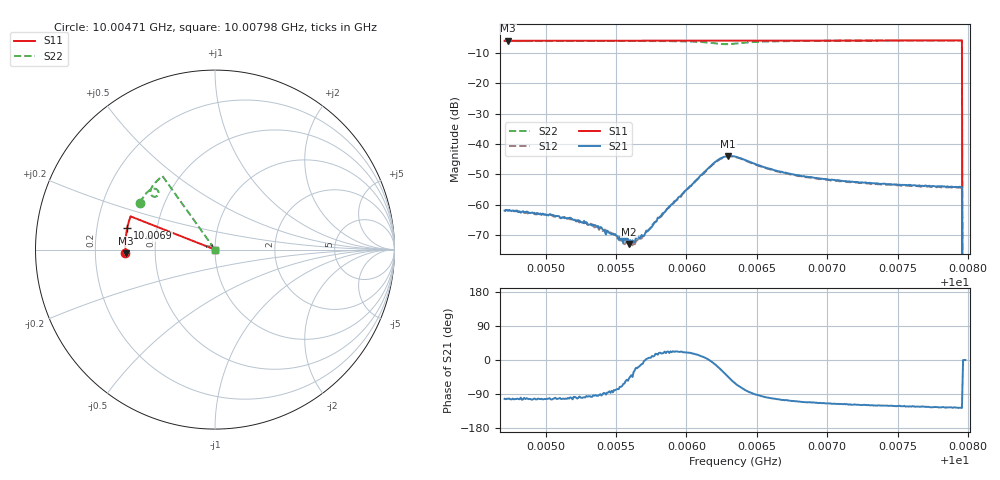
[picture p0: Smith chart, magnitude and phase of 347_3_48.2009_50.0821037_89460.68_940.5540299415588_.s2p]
#  HZ  S  RI  R  50.00
! Rohde & Schwarz Vector Network Analyzer
! Rohde-Schwarz,ZNB20-2Port,1311601062101988,3.16
! Created: UTC 3/20/2024, 11:51:39 AM
! freq[Hz]  re:S11  im:S11  re:S21  im:S21  re:S12  im:S12  re:S22  im:S22
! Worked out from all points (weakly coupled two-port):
!   401 points, 10.00471 GHz to 10.00798 GHz, reference 50 ohm
!   highest |S21| = -43.92 dB at 10.0063 GHz (marker M1); lowest = -72.9 dB at 10.00559 GHz (marker M2)
!   lowest |S11| = -6.0 dB at 10.00473 GHz (marker M3), VSWR 2.99, Z = 16.7 - j0.874 ohm
!   |S11| at or under -10 dB: 10.00796 GHz to end of sweep
!   |S22| runs from - to -6.0 dB; largest |S21 - S12| = 0.00036
!   S11 on the Smith chart (normalised r, x): 10.00471 GHz: 0.33, -0.02; 10.0069 GHz: 0.33, +0.11; 10.00798 GHz: 1.00, +0.00
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1.0004707e10  -0.4988 -0.0211  -0.000172 -0.000783  -0.000115 -0.000765  -0.4191 0.2603
1.0004732e10  -0.4986 -0.0196  -0.000173 -0.000786  -0.000137 -0.000782  -0.4183 0.2618
1.0005043e10  -0.4998 0.000783  -0.000166 -0.000649  -9.35e-05 -0.000668  -0.4073 0.2802
1.0005256e10  -0.4999 0.0146  -8.78e-05 -0.000503  -5.74e-05 -0.000513  -0.3991 0.2928
1.0005354e10  -0.4999 0.021  -2.26e-05 -0.000457  6.05e-06 -0.000423  -0.3949 0.2988
1.0005477e10  -0.4998 0.0288  2.63e-05 -0.00033  3.69e-05 -0.000335  -0.3894 0.3062
1.0005551e10  -0.4996 0.0336  0.000104 -0.000206  0.000132 -0.000201  -0.3859 0.3107
1.0005591e10  -0.4995 0.0362  0.000149 -0.000169  0.000156 -0.000214  -0.3837 0.3131
1.0005616e10  -0.4994 0.0379  0.000185 -0.000183  0.000166 -0.000136  -0.3825 0.3147
1.0005632e10  -0.4995 0.0389  0.000217 -0.000111  0.000186 -0.000124  -0.3817 0.3156
1.0005706e10  -0.4992 0.0436  0.000335 -4.64e-06  0.000348 1.25e-05  -0.3773 0.3203
1.0005804e10  -0.4987 0.0501  0.000577 0.000195  0.000564 0.000192  -0.3709 0.3265
1.0006173e10  -0.4962 0.0738  0.00433 -0.00022  0.00427 -3.98e-05  -0.3212 0.3323
1.0006238e10  -0.4955 0.0778  0.00528 -0.00227  0.00526 -0.00195  -0.3143 0.3145
1.0006296e10  -0.495 0.0812  0.00457 -0.00443  0.00465 -0.00415  -0.3238 0.2981
1.0006345e10  -0.4948 0.0843  0.00298 -0.00546  0.0032 -0.0052  -0.3387 0.2944
1.0006639e10  -0.4924 0.103  -0.000822 -0.00353  -0.00061 -0.0035  -0.3578 0.335
1.0006893e10  -0.4891 0.1193  -0.00107 -0.00261  -0.000938 -0.00259  -0.3463 0.3561
1.0006901e10  -0.489 0.1198  -0.00103 -0.00259  -0.000911 -0.00256  -0.3459 0.3567
1.0007442e10  -0.4807 0.1536  -0.00111 -0.00187  -0.00102 -0.00187  -0.3192 0.3867
1.0007941e10  -0.4708 0.1841  -0.00116 -0.0016  -0.00106 -0.00162  -0.2938 0.4091
1.0007982e10  0 0  0 0  0 0  0 0
